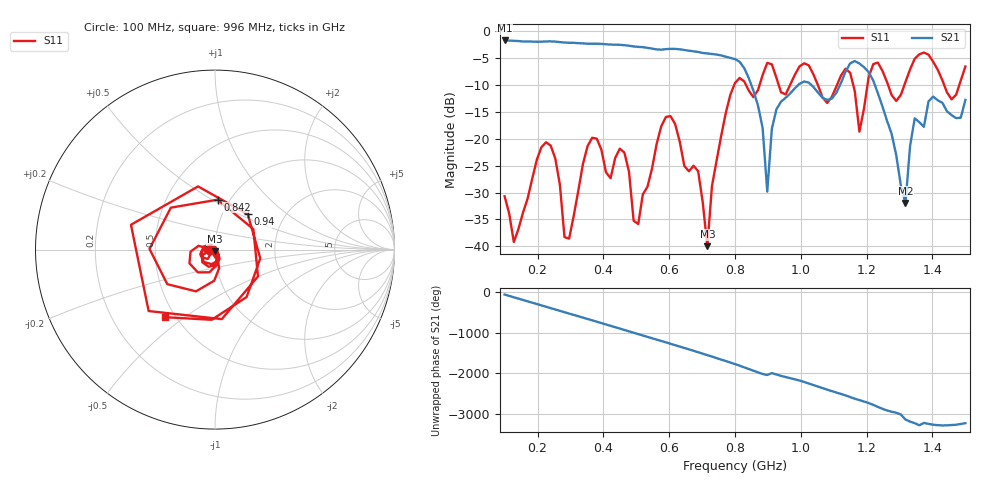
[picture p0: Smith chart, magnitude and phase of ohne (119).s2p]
! NanoVNA-App
! Date: 2025-09-25 17:39:13
! Start: 100MHz Stop: 1,5GHz Points: 101
! S-Parameter data: F S11 S21 S12 S22
# Hz S RI R 50
!  Frequency  S11_Real  S11_Imag  S21_Real  S21_Imag  S12_Real  S12_Imag  S22_Real  S22_Imag
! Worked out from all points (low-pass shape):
!   101 points, 100 MHz to 1.5 GHz, reference 50 ohm
!   highest |S21| = -1.80 dB at 100 MHz (marker M1); lowest = -31.9 dB at 1.318 GHz (marker M2)
!   |S21| within 3 dB of the highest: start of sweep to 771.1 MHz
!   lowest |S11| = -39.9 dB at 716 MHz (marker M3), VSWR 1.02, Z = 49.7 - j0.969 ohm
!   |S11| at or under -10 dB: start of sweep to 797.9 MHz; 833 MHz to 874.9 MHz (41.97 MHz wide, 4.91 % of centre); 1.051 GHz to 1.11 GHz (58.99 MHz wide, 5.46 % of centre) (the widest 3 of 7)
!   S12 and S22 are empty: the file has one direction only
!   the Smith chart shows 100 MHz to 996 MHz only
!   S11 on the Smith chart (normalised r, x): 100 MHz: 0.94, -0.01; 842 MHz: 0.88, +0.53; 940 MHz: 1.31, +0.56; 996 MHz: 0.44, -0.43
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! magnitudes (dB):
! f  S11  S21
! 100 MHz  -30.7  -1.8
! 128 MHz  -39.2  -1.9
! 226 MHz  -20.7  -2.0
! 296 MHz  -38.6  -2.2
! 338 MHz  -24.7  -2.3
! 464 MHz  -22.6  -2.7
! 506 MHz  -35.8  -3.0
! 576 MHz  -17.7  -3.5
! 688 MHz  -26.0  -3.9
! 716 MHz  -39.9  -4.2
! 800 MHz  -9.7  -5.3
! 842 MHz  -11.1  -8.8
! 898 MHz  -6.0  -29.8
! 940 MHz  -11.4  -13.1
! 996 MHz  -6.6  -9.8
! 1.038 GHz  -8.1  -10.4
! 1.178 GHz  -18.7  -6.1
! 1.22 GHz  -6.2  -9.2
! 1.276 GHz  -11.9  -19.1
! 1.318 GHz  -9.5  -31.9
! 1.346 GHz  -5.2  -16.2
! 1.5 GHz  -6.6  -12.8
